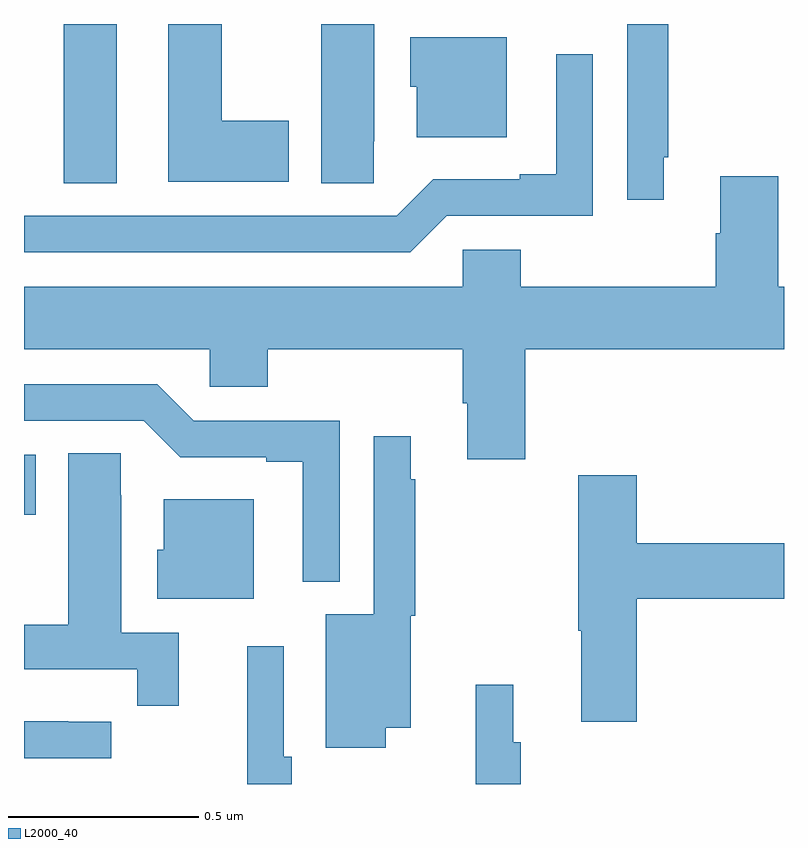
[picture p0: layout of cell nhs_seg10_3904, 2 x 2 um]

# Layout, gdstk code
import gdstk
lib = gdstk.Library(unit=1e-6, precision=1e-09)
def R(c, l, rs):  # rectangles x0, y0, x1, y1
    for r in rs: c.add(gdstk.rectangle(r[:2], r[2:], *l))
def P(c, l, *ps):  # polygons
    for p in ps: c.add(gdstk.Polygon(p, *l))
L2000_40 = (2000, 40)

nhs_seg10_3904 = lib.new_cell('nhs_seg10_3904')
R(nhs_seg10_3904, L2000_40, [(159,1305.208,159.031,1305.367), (159.104,1306.081,159.244,1306.5)])
P(nhs_seg10_3904, L2000_40, [(160.684,1306.15),(160.696,1306.15),(160.696,1306.5),(160.587,1306.5),(160.587,1306.038),(160.684,1306.038)],
  [(159.697,1306.245),(159.52,1306.245),(159.52,1306.5),(159.38,1306.5),(159.38,1306.085),(159.697,1306.085)],
  [(159.921,1306.192),(159.922,1306.192),(159.922,1306.5),(159.782,1306.5),(159.782,1306.081),(159.921,1306.081)],
  [(160.27,1306.465),(160.016,1306.465),(160.016,1306.335),(160.034,1306.335),(160.034,1306.202),(160.27,1306.202)],
  [(160.113,1305.996),(160.497,1305.996),(160.497,1306.42),(160.4,1306.42),(160.4,1306.105),(160.304,1306.105),(160.304,1306.092),(160.077,1306.092),(159.981,1305.996),(159,1305.996),(159,1305.9),(160.017,1305.9)],
  [(160.155,1305.808),(159,1305.808),(159,1305.644),(159.489,1305.644),(159.489,1305.546),(159.641,1305.546),(159.641,1305.644),(160.154,1305.644),(160.154,1305.502),(160.166,1305.502),(160.166,1305.354),(160.319,1305.354),(160.319,1305.644),(161,1305.644),(161,1305.808),(160.985,1305.808),(160.985,1306.099),(160.832,1306.099),(160.832,1305.95),(160.82,1305.95),(160.82,1305.808),(160.307,1305.808),(160.307,1305.906),(160.155,1305.906)],
  [(159.831,1305.456),(159.447,1305.456),(159.351,1305.552),(159,1305.552),(159,1305.456),(159.315,1305.456),(159.411,1305.36),(159.638,1305.36),(159.638,1305.348),(159.734,1305.348),(159.734,1305.032),(159.831,1305.032)],
  [(159.952,1304.648),(160.018,1304.648),(160.018,1304.943),(160.03,1304.943),(160.03,1305.302),(160.018,1305.302),(160.018,1305.415),(159.921,1305.415),(159.921,1304.947),(159.794,1304.947),(159.794,1304.595),(159.952,1304.595)],
  [(159.407,1304.898),(159.256,1304.898),(159.256,1305.26),(159.255,1305.26),(159.255,1305.371),(159.116,1305.371),(159.116,1304.919),(159,1304.919),(159,1304.802),(159.298,1304.802),(159.298,1304.706),(159.407,1304.706)],
  [(160.613,1304.987),(161,1304.987),(161,1305.134),(160.613,1305.134),(160.613,1305.313),(160.459,1305.313),(160.459,1304.903),(160.466,1304.903),(160.466,1304.664),(160.613,1304.664)],
  [(159.604,1305.25),(159.368,1305.25),(159.368,1305.117),(159.35,1305.117),(159.35,1304.987),(159.604,1304.987)],
  [(159.704,1304.572),(159.684,1304.572),(159.684,1304.863),(159.587,1304.863),(159.587,1304.5),(159.704,1304.5)],
  [(160.307,1304.61),(160.288,1304.61),(160.288,1304.761),(160.189,1304.761),(160.189,1304.5),(160.307,1304.5)],
  [(159.229,1304.664),(159.116,1304.664),(159.116,1304.665),(159,1304.665),(159,1304.568),(159.229,1304.568)])

lib.write_gds('nhs_seg10_3904.gds')
